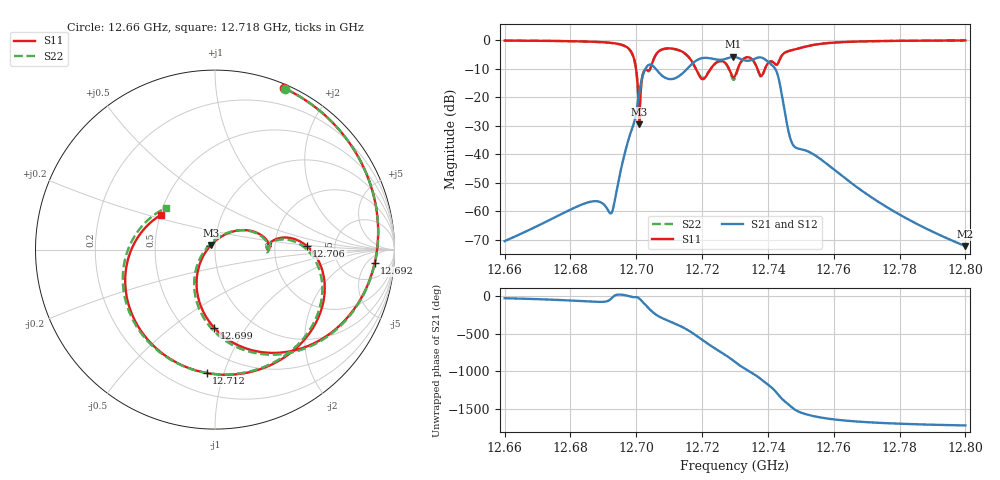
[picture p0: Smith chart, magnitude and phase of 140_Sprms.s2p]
! TOUCHSTONE file generated by CST MICROWAVE STUDIO
! Date and time: Wed Jul 31 17:53:17 2024
! Project name: WaveGuide_BPF-Ver4.1_U-shape_Ku_T3_C4_CWA_2.cst
! Parameters = {cavity_h=16; cavity_l0=10; cavity_l1=15.2252; cavity_l2=16.8425; cavity_l3=17.1359; cavity_l4=17.2997; cavity_l5=17.1356; cavity_l6=17.6259; cavity_r=2.5; cavity_screw_l=0.5; cavity_screw_r=1.5; cavity_w=8; iris_h00=0; iris_h01=8.8087; iris_h112=0; iris_h12=5.6023; iris_h211=3.6675; 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
! Header version: 2018
! Port assignment regex: !\s*Touchstone port\s*([0-9]+)\s*=\s*(CST MWS port|CST DS port)\s*([0-9]+|Zmin|Zmax)\s*\(\"(.*)\"\)(\s*mode\s*([0-9]+))?.*
! Touchstone port assignment:
! Touchstone port 1 = CST MWS port 1 ("")
! Touchstone port 2 = CST MWS port 2 ("")
# GHz S RI R 50
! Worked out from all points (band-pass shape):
!   5001 points, 12.66 GHz to 12.8 GHz, reference 50 ohm
!   highest |S21| = -5.87 dB at 12.73 GHz (marker M1); lowest = -72.1 dB at 12.8 GHz (marker M2)
!   |S21| within 3 dB of the highest: 12.70357 GHz to 12.7049 GHz (1.333 MHz wide, 0.0105 % of centre); 12.71649 GHz to 12.74132 GHz (24.83 MHz wide, 0.195 % of centre)
!   lowest |S11| = -29.5 dB at 12.701 GHz (marker M3), VSWR 1.07, Z = 47.8 + j2.4 ohm
!   |S11| at or under -10 dB: 12.69993 GHz to 12.70424 GHz (4.313 MHz wide, 0.034 % of centre); 12.71807 GHz to 12.72268 GHz (4.614 MHz wide, 0.0363 % of centre); 12.72816 GHz to 12.73085 GHz (2.69 MHz wide, 0.0211 % of centre) (the widest 3 of 4)
!   |S22| runs from -27.7 to -0.2 dB; largest |S21 - S12| = 1e-09
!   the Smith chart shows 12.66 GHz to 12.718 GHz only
!   S11 on the Smith chart (normalised r, x): 12.66 GHz: 0.04, +1.52; 12.692 GHz: 11, -8; 12.699 GHz: 0.68, -0.72; 12.706 GHz: 3.07, +0.18; 12.712 GHz: 0.33, -0.88; 12.718 GHz: 0.50, +0.22
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12.66  0.3861 0.8988  0.000269 -0.00014  0.000269 -0.00014  0.3924 0.8959
12.68335  0.83 0.4538  0.00054 -0.0012  0.00054 -0.0012  0.8363 0.4407
12.69226  0.8896 -0.0754  0.000726 -0.000572  0.000726 -0.000572  0.8853 -0.0987
12.69948  -0.00507 -0.4345  0.0375 -0.00869  0.0375 -0.00869  -0.0349 -0.4211
12.70094  -0.0223 0.0251  0.1061 -0.0673  0.1061 -0.0673  -0.0183 0.0395
12.70561  0.5099 0.0215  -0.1897 0.2678  -0.1897 0.2678  0.5039 0.00707
12.70668  0.6055 -0.1482  -0.0218 0.2766  -0.0218 0.2766  0.5944 -0.1687
12.71205  -0.0472 -0.6875  0.2126 -0.0459  0.2126 -0.0459  -0.1001 -0.6753
12.7176  -0.3025 0.1928  -0.3468 -0.221  -0.3468 -0.221  -0.2708 0.2334
12.72132  0.2367 -0.00738  -0.061 0.4839  -0.061 0.4839  0.2458 -0.012
12.72471  -0.0336 -0.4139  0.4531 0.000266  0.4531 0.000266  -0.0341 -0.4112
12.72952  -0.1881 -0.1144  -0.4044 -0.3082  -0.4044 -0.3082  -0.1724 -0.1032
12.73  -0.1774 -0.1528  -0.471 -0.1842  -0.471 -0.1842  -0.1596 -0.1453
12.73344  -0.4939 -0.0632  -0.078 0.4274  -0.078 0.4274  -0.4882 -0.0683
12.73692  -0.2259 0.1992  0.4896 0.0374  0.4896 0.0374  -0.2183 0.1984
12.74151  -0.2226 0.3474  -0.3201 -0.1456  -0.3201 -0.1456  -0.2185 0.3496
12.7452  0.1746 0.5783  0.0438 0.0277  0.0438 0.0277  0.2141 0.5631
12.74873  0.6977 -0.0462  0.000268 -0.0129  0.000268 -0.0129  0.6952 -0.0976
12.75335  0.2656 -0.7653  -0.00954 -0.00416  -0.00954 -0.00416  0.228 -0.7822
12.76273  -0.6387 -0.6622  -0.00323 0.00252  -0.00323 0.00252  -0.655 -0.6487
12.77668  -0.9534 -0.1401  -0.000256 0.00111  -0.000256 0.00111  -0.9555 -0.1292
12.8  -0.9279 0.3233  6.87e-05 0.000237  6.87e-05 0.000237  -0.926 0.3293
